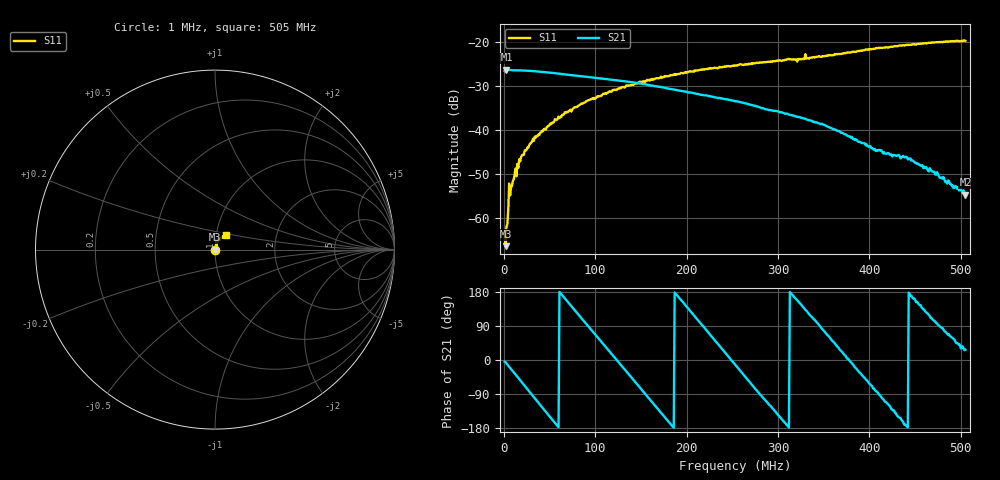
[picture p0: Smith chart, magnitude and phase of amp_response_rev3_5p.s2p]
# HZ S RI R 50
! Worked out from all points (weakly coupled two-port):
!   505 points, 1 MHz to 505 MHz, reference 50 ohm
!   highest |S21| = -26.35 dB at 3 MHz (marker M1); lowest = -54.7 dB at 505 MHz (marker M2)
!   lowest |S11| = -66.4 dB at 2 MHz (marker M3), VSWR 1.00, Z = 50 + j0.0312 ohm
!   |S11| at or under -10 dB: start of sweep to end of sweep
!   S12 and S22 are empty: the file has one direction only
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1000000  -0.000464 0.000497  0.0465 -0.00352  0 0  0 0
2000000  0.000367 0.000312  0.0479 -0.00478  0 0  0 0
3000000  -0.000144 0.000783  0.0475 -0.00748  0 0  0 0
5000000  -2.29e-05 0.00125  0.0463 -0.0125  0 0  0 0
8000000  0.000484 0.00216  0.0435 -0.0193  0 0  0 0
9000000  0.000484 0.00225  0.0424 -0.0214  0 0  0 0
1.1e7  0.000483 0.0027  0.04 -0.0255  0 0  0 0
1.7e7  0.000671 0.00459  0.0303 -0.0364  0 0  0 0
2.1e7  0.00108 0.00513  0.022 -0.0419  0 0  0 0
3.2e7  0.00165 0.00779  -0.00413 -0.0462  0 0  0 0
4.2e7  0.00225 0.00951  -0.026 -0.0374  0 0  0 0
6.6e7  0.00367 0.0146  -0.0414 0.011  0 0  0 0
8.5e7  0.00584 0.0191  -0.0141 0.0381  0 0  0 0
1.23e8  0.00768 0.0273  0.0366 0.00113  0 0  0 0
1.69e8  0.00932 0.0374  -0.02 -0.0237  0 0  0 0
2.12e8  0.0118 0.0456  -0.00704 0.0247  0 0  0 0
2.53e8  0.0143 0.0519  0.0206 -0.00438  0 0  0 0
3.37e8  0.0258 0.0613  -0.00511 0.0116  0 0  0 0
4.21e8  0.0465 0.0728  -0.00259 -0.0048  0 0  0 0
4.46e8  0.0521 0.0768  -0.00441 0.000843  0 0  0 0
4.68e8  0.0575 0.0796  -0.00121 0.0032  0 0  0 0
5.05e8  0.0636 0.0803  0.00163 0.000842  0 0  0 0
